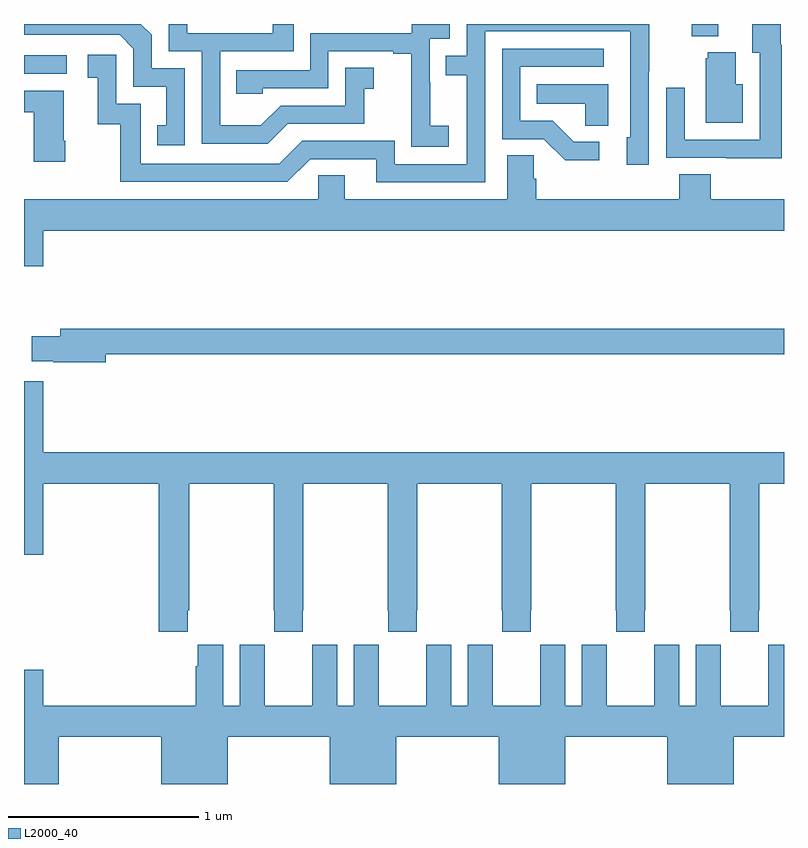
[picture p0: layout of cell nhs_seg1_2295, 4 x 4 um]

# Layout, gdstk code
import gdstk
lib = gdstk.Library(unit=1e-6, precision=1e-09)
def R(c, l, rs):  # rectangles x0, y0, x1, y1
    for r in rs: c.add(gdstk.rectangle(r[:2], r[2:], *l))
def P(c, l, *ps):  # polygons
    for p in ps: c.add(gdstk.Polygon(p, *l))
L2000_40 = (2000, 40)

nhs_seg1_2295 = lib.new_cell('nhs_seg1_2295')
R(nhs_seg1_2295, L2000_40, [(237,505.938,237.226,506.034), (240.515,506.135,240.655,506.199)])
P(nhs_seg1_2295, L2000_40, [(237.846,505.965),(237.672,505.965),(237.672,506.142),(237.615,506.199),(237,506.199),(237,506.142),(237.504,506.142),(237.576,506.07),(237.576,505.869),(237.749,505.869),(237.749,505.665),(237.7,505.665),(237.7,505.56),(237.846,505.56)],
  [(238.387,505.674),(238.791,505.674),(238.791,505.859),(238.84,505.859),(238.84,505.969),(238.692,505.969),(238.692,505.77),(238.35,505.77),(238.246,505.666),(238.032,505.666),(238.032,506.055),(238.421,506.055),(238.421,506.199),(238.31,506.199),(238.31,506.151),(237.859,506.151),(237.859,506.199),(237.762,506.199),(237.762,506.055),(237.936,506.055),(237.936,505.569),(238.282,505.569)],
  [(239.236,505.663),(239.138,505.663),(239.138,505.892),(239.136,505.892),(239.136,506.121),(239.241,506.121),(239.241,506.199),(239.04,506.199),(239.04,506.151),(238.506,506.151),(238.506,505.956),(238.117,505.956),(238.117,505.833),(238.257,505.833),(238.257,505.86),(238.602,505.86),(238.602,506.055),(238.943,506.055),(238.943,506.043),(239.039,506.043),(239.039,505.759),(239.038,505.759),(239.038,505.553),(239.236,505.553)],
  [(239.427,506.16),(240.192,506.16),(240.192,505.602),(240.173,505.602),(240.173,505.458),(240.288,505.458),(240.288,505.951),(240.291,505.951),(240.291,506.199),(239.331,506.199),(239.331,506.031),(239.221,506.031),(239.221,505.93),(239.331,505.93),(239.331,505.461),(238.95,505.461),(238.95,505.584),(238.464,505.584),(238.344,505.464),(237.615,505.464),(237.615,505.779),(237.486,505.779),(237.486,506.038),(237.336,506.038),(237.336,505.917),(237.389,505.917),(237.389,505.671),(237.507,505.671),(237.507,505.368),(238.386,505.368),(238.506,505.488),(238.853,505.488),(238.853,505.365),(239.427,505.365)],
  [(240.989,506.09),(240.982,506.09),(240.982,506.199),(240.833,506.199),(240.833,506.047),(240.873,506.047),(240.873,505.59),(240.477,505.59),(240.477,505.864),(240.381,505.864),(240.381,505.494),(240.697,505.494),(240.697,505.493),(240.989,505.493)],
  [(240.028,505.578),(239.893,505.578),(239.782,505.689),(239.613,505.689),(239.613,505.974),(240.052,505.974),(240.052,506.07),(239.517,506.07),(239.517,505.593),(239.736,505.593),(239.849,505.481),(240.028,505.481)],
  [(240.784,505.882),(240.745,505.882),(240.745,506.05),(240.599,506.05),(240.599,506.019),(240.587,506.019),(240.587,505.679),(240.784,505.679)],
  [(240.076,505.882),(239.698,505.882),(239.698,505.778),(239.955,505.778),(239.955,505.663),(240.076,505.663)],
  [(237.216,505.585),(237.208,505.585),(237.208,505.849),(237,505.849),(237,505.735),(237.05,505.735),(237.05,505.473),(237.216,505.473)],
  [(237.1,505.112),(241,505.112),(241,505.276),(240.614,505.276),(240.614,505.409),(240.449,505.409),(240.449,505.276),(239.696,505.276),(239.696,505.385),(239.682,505.385),(239.682,505.508),(239.543,505.508),(239.543,505.276),(238.687,505.276),(238.687,505.403),(238.548,505.403),(238.548,505.276),(237,505.276),(237,504.924),(237.1,504.924)],
  [(237.43,504.46),(241,504.46),(241,504.596),(237.191,504.596),(237.191,504.555),(237.042,504.555),(237.042,504.425),(237.154,504.425),(237.154,504.418),(237.43,504.418)],
  [(237.863,503.113),(237.87,503.113),(237.87,503.78),(238.315,503.78),(238.315,503.113),(238.317,503.113),(238.317,503.001),(238.467,503.001),(238.467,503.113),(238.47,503.113),(238.47,503.78),(238.915,503.78),(238.915,503.113),(238.917,503.113),(238.917,503.001),(239.067,503.001),(239.067,503.113),(239.07,503.113),(239.07,503.78),(239.515,503.78),(239.515,503.113),(239.517,503.113),(239.517,503.001),(239.667,503.001),(239.667,503.113),(239.67,503.113),(239.67,503.78),(240.115,503.78),(240.115,503.113),(240.117,503.113),(240.117,503.001),(240.267,503.001),(240.267,503.113),(240.27,503.113),(240.27,503.78),(240.715,503.78),(240.715,503.113),(240.717,503.113),(240.717,503.001),(240.867,503.001),(240.867,503.113),(240.87,503.113),(240.87,503.78),(241,503.78),(241,503.944),(237.1,503.944),(237.1,504.319),(237,504.319),(237,503.406),(237.1,503.406),(237.1,503.78),(237.71,503.78),(237.71,503.001),(237.863,503.001)],
  [(240.386,502.199),(240.736,502.199),(240.736,502.448),(241,502.448),(241,502.933),(240.918,502.933),(240.918,502.82),(240.917,502.82),(240.917,502.612),(240.667,502.612),(240.667,502.82),(240.666,502.82),(240.666,502.933),(240.536,502.933),(240.536,502.612),(240.448,502.612),(240.448,502.933),(240.318,502.933),(240.318,502.82),(240.317,502.82),(240.317,502.612),(240.067,502.612),(240.067,502.82),(240.066,502.82),(240.066,502.933),(239.936,502.933),(239.936,502.612),(239.848,502.612),(239.848,502.933),(239.718,502.933),(239.718,502.82),(239.717,502.82),(239.717,502.612),(239.467,502.612),(239.467,502.82),(239.466,502.82),(239.466,502.933),(239.336,502.933),(239.336,502.612),(239.248,502.612),(239.248,502.933),(239.118,502.933),(239.118,502.82),(239.117,502.82),(239.117,502.612),(238.867,502.612),(238.867,502.82),(238.866,502.82),(238.866,502.933),(238.736,502.933),(238.736,502.612),(238.648,502.612),(238.648,502.933),(238.518,502.933),(238.518,502.82),(238.517,502.82),(238.517,502.612),(238.267,502.612),(238.267,502.82),(238.266,502.82),(238.266,502.933),(238.136,502.933),(238.136,502.612),(238.048,502.612),(238.048,502.933),(237.914,502.933),(237.914,502.82),(237.905,502.82),(237.905,502.612),(237.1,502.612),(237.1,502.801),(237,502.801),(237,502.199),(237.184,502.199),(237.184,502.448),(237.722,502.448),(237.722,502.199),(238.072,502.199),(238.072,502.448),(238.61,502.448),(238.61,502.199),(238.96,502.199),(238.96,502.448),(239.498,502.448),(239.498,502.199),(239.848,502.199),(239.848,502.448),(240.386,502.448)])

lib.write_gds('nhs_seg1_2295.gds')
